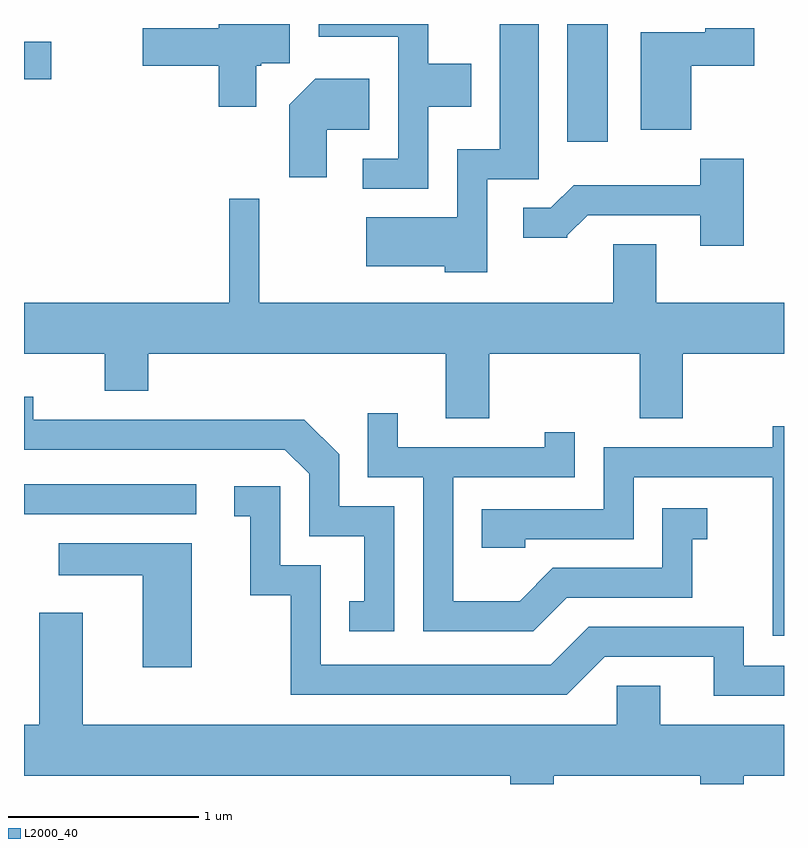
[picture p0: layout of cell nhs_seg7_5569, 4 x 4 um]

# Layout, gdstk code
import gdstk
lib = gdstk.Library(unit=1e-6, precision=1e-09)
def R(c, l, rs):  # rectangles x0, y0, x1, y1
    for r in rs: c.add(gdstk.rectangle(r[:2], r[2:], *l))
def P(c, l, *ps):  # polygons
    for p in ps: c.add(gdstk.Polygon(p, *l))
L2000_40 = (2000, 40)

nhs_seg7_5569 = lib.new_cell('nhs_seg7_5569')
R(nhs_seg7_5569, L2000_40, [(355.611,1735.671,356.518,1735.829), (358.471,1737.631,358.684,1738.252), (355.611,1737.961,355.754,1738.159)])
P(nhs_seg7_5569, L2000_40, [(358.049,1737.436),(358.319,1737.436),(358.319,1738.252),(358.116,1738.252),(358.116,1737.594),(357.891,1737.594),(357.891,1737.234),(357.411,1737.234),(357.411,1736.976),(357.826,1736.976),(357.826,1736.946),(358.049,1736.946)],
  [(357.739,1737.816),(357.964,1737.816),(357.964,1738.044),(357.739,1738.044),(357.739,1738.252),(357.161,1738.252),(357.161,1738.186),(357.581,1738.186),(357.581,1737.544),(357.393,1737.544),(357.393,1737.386),(357.739,1737.386)],
  [(356.834,1738.031),(356.86,1738.031),(356.86,1738.046),(357.009,1738.046),(357.009,1738.252),(356.636,1738.252),(356.636,1738.229),(356.236,1738.229),(356.236,1738.031),(356.636,1738.031),(356.636,1737.816),(356.834,1737.816)],
  [(359.124,1738.031),(359.454,1738.031),(359.454,1738.229),(359.196,1738.229),(359.196,1738.209),(358.856,1738.209),(358.856,1737.696),(359.124,1737.696)],
  [(357.204,1737.696),(357.429,1737.696),(357.429,1737.964),(357.144,1737.964),(357.006,1737.827),(357.006,1737.446),(357.204,1737.446)],
  [(359.399,1737.544),(359.171,1737.544),(359.171,1737.404),(358.504,1737.404),(358.384,1737.284),(358.238,1737.284),(358.238,1737.126),(358.47,1737.126),(358.47,1737.14),(358.577,1737.246),(359.171,1737.246),(359.171,1737.086),(359.399,1737.086)],
  [(358.059,1736.516),(358.851,1736.516),(358.851,1736.176),(359.079,1736.176),(359.079,1736.516),(359.611,1736.516),(359.611,1736.784),(358.939,1736.784),(358.939,1737.094),(358.711,1737.094),(358.711,1736.784),(356.849,1736.784),(356.849,1737.333),(356.691,1737.333),(356.691,1736.784),(355.611,1736.784),(355.611,1736.516),(356.036,1736.516),(356.036,1736.321),(356.264,1736.321),(356.264,1736.516),(357.831,1736.516),(357.831,1736.176),(358.059,1736.176)],
  [(357.559,1735.714),(357.269,1735.714),(357.269,1735.987),(357.087,1736.169),(355.659,1736.169),(355.659,1736.289),(355.611,1736.289),(355.611,1736.011),(356.984,1736.011),(357.111,1735.884),(357.111,1735.556),(357.401,1735.556),(357.401,1735.214),(357.323,1735.214),(357.323,1735.056),(357.559,1735.056)],
  [(358.467,1735.231),(359.129,1735.231),(359.129,1735.541),(359.208,1735.541),(359.208,1735.704),(358.971,1735.704),(358.971,1735.389),(358.394,1735.389),(358.219,1735.214),(357.869,1735.214),(357.869,1735.866),(358.509,1735.866),(358.509,1736.103),(358.351,1736.103),(358.351,1736.024),(357.579,1736.024),(357.579,1736.203),(357.421,1736.203),(357.421,1735.866),(357.711,1735.866),(357.711,1735.056),(358.292,1735.056)],
  [(359.611,1736.134),(359.551,1736.134),(359.551,1736.024),(358.661,1736.024),(358.661,1735.699),(358.021,1735.699),(358.021,1735.496),(358.249,1735.496),(358.249,1735.541),(358.819,1735.541),(358.819,1735.866),(359.551,1735.866),(359.551,1735.031),(359.611,1735.031)],
  [(359.611,1734.874),(359.399,1734.874),(359.399,1735.079),(358.584,1735.079),(358.384,1734.879),(357.174,1734.879),(357.174,1735.404),(356.959,1735.404),(356.959,1735.819),(356.718,1735.819),(356.718,1735.661),(356.801,1735.661),(356.801,1735.246),(357.016,1735.246),(357.016,1734.721),(358.467,1734.721),(358.667,1734.921),(359.241,1734.921),(359.241,1734.716),(359.611,1734.716)],
  [(356.494,1735.519),(355.793,1735.519),(355.793,1735.351),(356.236,1735.351),(356.236,1734.866),(356.494,1734.866)],
  [(358.399,1734.296),(359.171,1734.296),(359.171,1734.252),(359.399,1734.252),(359.399,1734.296),(359.611,1734.296),(359.611,1734.564),(358.959,1734.564),(358.959,1734.769),(358.731,1734.769),(358.731,1734.564),(355.919,1734.564),(355.919,1735.154),(355.691,1735.154),(355.691,1734.564),(355.611,1734.564),(355.611,1734.296),(358.171,1734.296),(358.171,1734.252),(358.399,1734.252)])

lib.write_gds('nhs_seg7_5569.gds')
